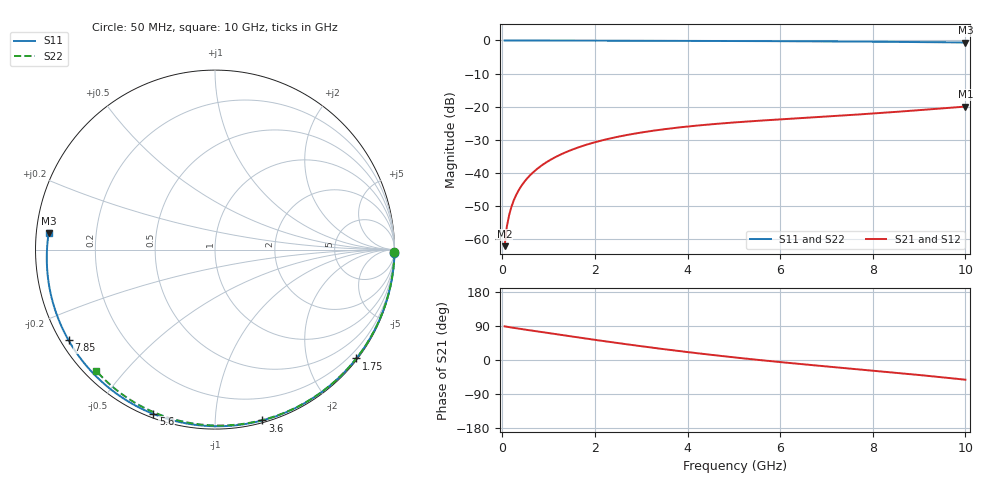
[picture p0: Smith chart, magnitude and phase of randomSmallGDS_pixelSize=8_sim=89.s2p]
! freq	dB(S11)	phase(S11)	dB(S12)	phase(S12)
!  dB(S21)	phase(S21)	dB(S22)	phase(S22)
!S-par simulation data
#  GHz  S  DB  R 50
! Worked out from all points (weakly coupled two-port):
!   200 points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, 50 MHz to 10 GHz, reference 50 ohm
!   highest |S21| = -19.93 dB at 10 GHz (marker M1); lowest = -62.0 dB at 50 MHz (marker M2)
!   lowest |S11| = -0.6 dB at 10 GHz (marker M3), VSWR 28.16, Z = 1.78 + j2.47 ohm
!   |S11| at or under -10 dB: nowhere
!   |S22| runs from -0.5 to 0.0 dB; largest |S21 - S12| = 0
!   S11 on the Smith chart (normalised r, x): 50 MHz: open; 1.75 GHz: 0.03, -2.94; 3.6 GHz: 0.02, -1.32; 5.6 GHz: 0.02, -0.69; 7.85 GHz: 0.02, -0.28; 10 GHz: 0.04, +0.05
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0.05  -0.00 -1.1  -62.01 88.8  -62.01 88.8  -0.00 -0.8
0.1  -0.00 -2.2  -56.01 87.7  -56.01 87.7  -0.00 -1.6
0.15  -0.00 -3.3  -52.51 86.7  -52.51 86.7  -0.00 -2.4
0.2  -0.00 -4.4  -50.04 85.6  -50.04 85.6  -0.00 -3.2
0.25  -0.00 -5.5  -48.12 84.7  -48.12 84.7  -0.00 -4.0
0.35  -0.01 -7.7  -45.24 82.8  -45.24 82.8  -0.00 -5.5
0.5  -0.01 -10.9  -42.19 80.1  -42.19 80.1  -0.01 -7.9
0.7  -0.02 -15.3  -39.32 76.5  -39.32 76.5  -0.01 -11.0
1  -0.03 -21.7  -36.31 71.0  -36.31 71.0  -0.02 -15.7
1.35  -0.04 -29.2  -33.82 64.7  -33.82 64.7  -0.03 -21.1
1.75  -0.05 -37.6  -31.73 57.6  -31.73 57.6  -0.04 -27.2
2.6  -0.08 -55.0  -28.74 42.9  -28.74 42.9  -0.06 -40.0
3.4  -0.10 -70.7  -26.93 30.0  -26.93 30.0  -0.08 -51.7
3.6  -0.11 -74.5  -26.58 26.9  -26.58 26.9  -0.08 -54.6
4.3  -0.13 -87.5  -25.54 16.6  -25.54 16.6  -0.10 -64.4
5.05  -0.17 -101.0  -24.68 6.4  -24.68 6.4  -0.13 -74.6
5.6  -0.19 -110.5  -24.15 -0.6  -24.15 -0.6  -0.15 -81.8
6.7  -0.26 -129.1  -23.19 -13.6  -23.19 -13.6  -0.20 -95.8
7.85  -0.36 -148.3  -22.17 -26.4  -22.17 -26.4  -0.28 -109.7
8.35  -0.41 -156.7  -21.68 -32.0  -21.68 -32.0  -0.32 -115.6
9.2  -0.51 -171.3  -20.80 -42.0  -20.80 -42.0  -0.40 -125.4
10  -0.62 174.3  -19.93 -52.1  -19.93 -52.1  -0.49 -134.5
